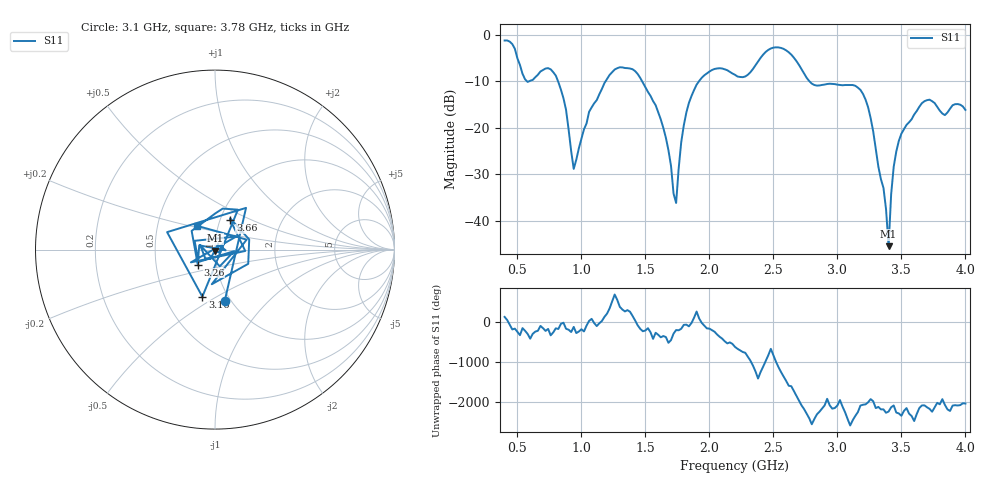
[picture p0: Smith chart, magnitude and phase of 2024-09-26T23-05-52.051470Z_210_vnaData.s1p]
!Created with skrf (http://scikit-rf.org).
# Hz S RI R 50.0
!freq ReS11 ImS11
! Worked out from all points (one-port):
!   181 points, 400 MHz to 4 GHz, reference 50 ohm
!   lowest |S11| = -45.5 dB at 3.4 GHz (marker M1), VSWR 1.01, Z = 50 - j0.53 ohm
!   |S11| at or under -10 dB: 818.2 MHz to 1.188 GHz (369.6 MHz wide, 36.9 % of centre); 1.475 GHz to 1.917 GHz (442.1 MHz wide, 26.1 % of centre); 2.783 GHz to end of sweep (the widest 3 of 4)
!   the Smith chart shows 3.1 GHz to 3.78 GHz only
!   S11 on the Smith chart (normalised r, x): 3.1 GHz: 0.94, -0.58; 3.16 GHz: 0.76, -0.43; 3.26 GHz: 0.81, -0.14; 3.66 GHz: 1.12, +0.38; 3.78 GHz: 0.79, +0.22
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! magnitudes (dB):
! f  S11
! 400 MHz  -1.2
! 580 MHz  -10.1
! 740 MHz  -7.1
! 860 MHz  -13.6
! 940 MHz  -28.8
! 1.06 GHz  -16.5
! 1.3 GHz  -6.9
! 1.42 GHz  -7.8
! 1.58 GHz  -15.1
! 1.66 GHz  -22.1
! 1.74 GHz  -36.2
! 1.76 GHz  -28.7
! 1.82 GHz  -16.7
! 1.9 GHz  -10.7
! 2.2 GHz  -8.6
! 2.5 GHz  -2.7
! 2.66 GHz  -4.9
! 2.82 GHz  -10.8
! 3.1 GHz  -10.8
! 3.16 GHz  -11.3
! 3.26 GHz  -17.9
! 3.36 GHz  -32.9
! 3.4 GHz  -45.5
! 3.44 GHz  -28.4
! 3.56 GHz  -18.8
! 3.66 GHz  -14.7
! 3.78 GHz  -15.5
! 4 GHz  -16.1
